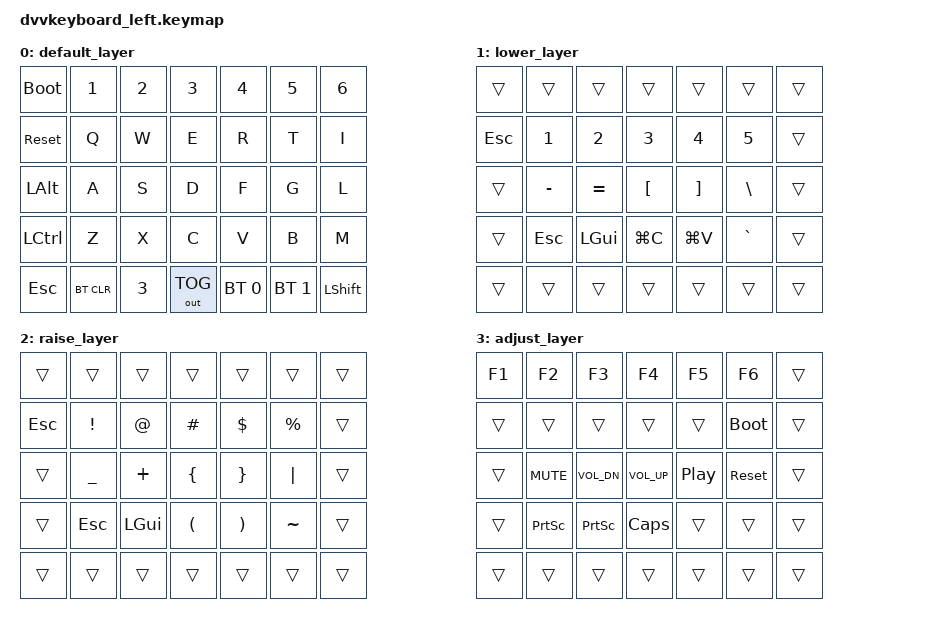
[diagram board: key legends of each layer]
/*
 * Copyright (c) 2021 The ZMK Contributors
 *
 * SPDX-License-Identifier: MIT
 */

#include <behaviors.dtsi>
#include <dt-bindings/zmk/keys.h>
#include <dt-bindings/zmk/bt.h>
#include <dt-bindings/zmk/ext_power.h>
#include <dt-bindings/zmk/outputs.h>
#include <dt-bindings/zmk/behaviors.h>
&nice_view_oled {
    label = "nice_view";
};

/ {
    keymap {
        compatible = "zmk,keymap";
        default_layer {
            /*
             * Левая половинка клавиатуры (7x5)
             * Столбцы: 1-7 (от центра к краям)
             * Ряды: 1-5 (сверху вниз)
             * 
             * ┌───┬───┬───┬───┬───┬───┬───┐
             * │ 1 │ 2 │ 3 │ 4 │ 5 │ 6 │   │  <- Ряд 1
             * ├───┼───┼───┼───┼───┼───┤   │
             * │TAB│ Q │ W │ E │ R │ T │   │  <- Ряд 2 (QWERTY)
             * ├───┼───┼───┼───┼───┼───┤   │
             * │ALT│ A │ S │ D │ F │ G │   │  <- Ряд 3 (QWERTY)
             * ├───┼───┼───┼───┼───┼───┤   │
             * │CTL│ Z │ X │ C │ V │ B │SFT│  <- Ряд 4 (QWERTY, с дополнительной кнопкой)
             * ├───┼───┼───┼───┼───┼───┤   │
             * │   │   │   │   │DEL│ESC│SFT│  <- Ряд 5 (островок)
             * └───┴───┴───┴───┴───┴───┴───┘
             *   1   2   3   4   5   6   7
             */
            bindings = <
                &bootloader                     &kp N1          &kp N2    &kp N3 		        &kp N4    		            &kp N5    	            &kp 6
                &sys_reset                          &kp Q           &kp W     &kp E  		        &kp R     		            &kp T     	            &kp I
                &kp LALT                        &kp A           &kp S     &kp D  		        &kp F     		            &kp G     	            &kp L
                &kp LCTRL                       &kp Z           &kp X     &kp C  		        &kp V     		            &kp B     	            &kp M
                &kp ESC                         &bt BT_CLR      &kp N3    &out OUT_TOG      	&bt BT_SEL 0                &bt BT_SEL 1            &kp LSHIFT
            >;
        };

        lower_layer {
            /*
             * ┌───┬───┬───┬───┬───┬───┬───┐
             * │   │   │   │   │   │   │   │
             * ├───┼───┼───┼───┼───┼───┤   │
             * │ESC│ 1 │ 2 │ 3 │ 4 │ 5 │   │
             * ├───┼───┼───┼───┼───┼───┤   │
             * │   │ - │ = │ [ │ ] │ \ │   │
             * ├───┼───┼───┼───┼───┼───┤   │
             * │   │ESC│GUI│CPY│PST│   │   │
             * ├───┼───┼───┼───┼───┼───┤   │
             * │   │   │   │   │   │   │   │
             * └───┴───┴───┴───┴───┴───┴───┘
             */
            bindings = <
                &trans    &trans    &trans    &trans    &trans    &trans    &trans
                &kp ESC   &kp N1    &kp N2    &kp N3    &kp N4    &kp N5    &trans
                &trans    &kp MINUS &kp EQUAL &kp LBKT  &kp RBKT  &kp BSLH  &trans
                &trans    &kp ESC   &kp LGUI  &kp LG(C) &kp LG(V) &kp GRAVE &trans
                &trans    &trans    &trans    &trans    &trans    &trans    &trans
            >;
        };

        raise_layer {
            /*
             * ┌───┬───┬───┬───┬───┬───┬───┐
             * │   │   │   │   │   │   │   │
             * ├───┼───┼───┼───┼───┼───┤   │
             * │ESC│ ! │ @ │ # │ $ │ % │   │
             * ├───┼───┼───┼───┼───┼───┤   │
             * │   │ _ │ + │ { │ } │ | │   │
             * ├───┼───┼───┼───┼───┼───┤   │
             * │   │ESC│GUI│ ( │ ) │ ~ │   │
             * ├───┼───┼───┼───┼───┼───┤   │
             * │   │   │   │   │   │   │   │
             * └───┴───┴───┴───┴───┴───┴───┘
             */
            bindings = <
                &trans    &trans    &trans    &trans    &trans    &trans    &trans
                &kp ESC   &kp EXCL  &kp AT    &kp HASH  &kp DLLR  &kp PRCNT &trans
                &trans    &kp UNDER &kp PLUS  &kp LBRC  &kp RBRC  &kp PIPE  &trans
                &trans    &kp ESC   &kp LGUI  &kp LPAR  &kp RPAR  &kp TILDE &trans
                &trans    &trans    &trans    &trans    &trans    &trans    &trans
            >;
        };

        adjust_layer {
            /*
             * ┌───┬───┬───┬───┬───┬───┬───┐
             * │F1 │F2 │F3 │F4 │F5 │F6 │   │
             * ├───┼───┼───┼───┼───┼───┤   │
             * │   │   │   │   │   │BOOT│   │
             * ├───┼───┼───┼───┼───┼───┤   │
             * │   │MUT│V- │V+ │PP │RST│   │
             * ├───┼───┼───┼───┼───┼───┤   │
             * │   │PSC│PSC│CAP│   │   │   │
             * ├───┼───┼───┼───┼───┼───┤   │
             * │   │   │   │   │   │   │   │
             * └───┴───┴───┴───┴───┴───┴───┘
             */
            bindings = <
                &kp F1    &kp F2    &kp F3    &kp F4    &kp F5    &kp F6    &trans
                &trans    &trans    &trans    &trans    &trans    &bootloader &trans
                &trans    &kp K_MUTE &kp C_VOL_DN &kp C_VOL_UP &kp C_PLAY_PAUSE &sys_reset &trans
                &trans    &kp PSCRN &kp PSCRN &kp CLCK &trans &trans &trans
                &trans    &trans    &trans    &trans    &trans    &trans    &trans
            >;
        };
    };
};
